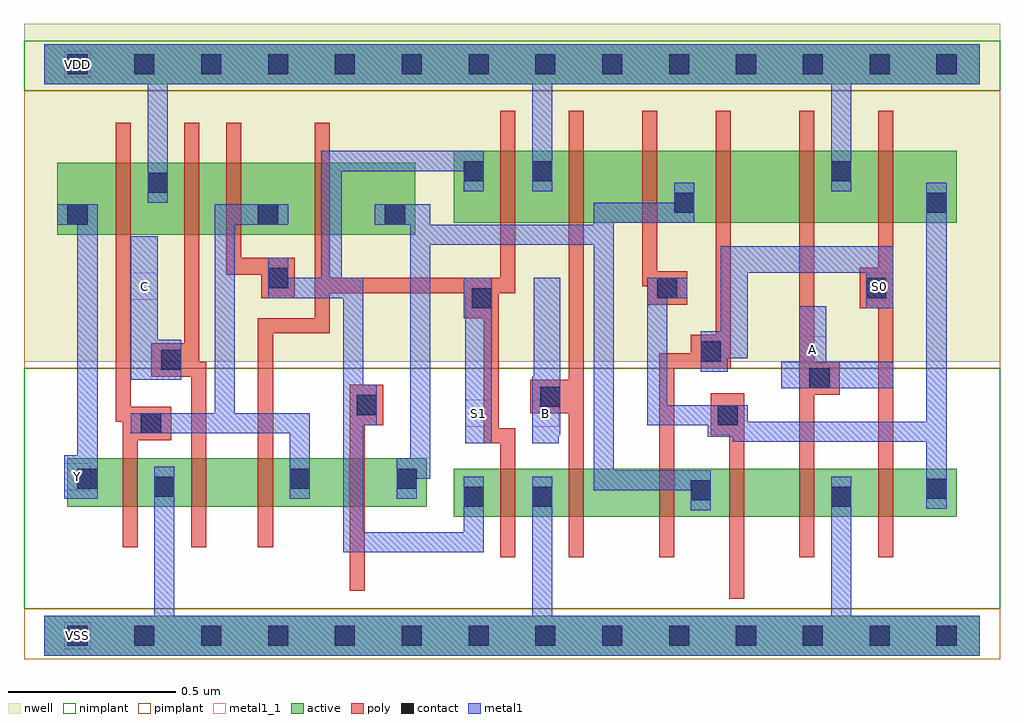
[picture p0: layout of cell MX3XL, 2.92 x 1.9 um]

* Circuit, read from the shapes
.subckt MX3XL A B C S0 S1 VDD VSS Y
M1 VSS n1 Y VSS nfet w=0.145u l=0.045u
M2 n2 C VSS VSS nfet w=0.145u l=0.045u
M3 n1 S1 n2 VSS nfet w=0.145u l=0.045u
M4 n3 n4 n1 VSS nfet w=0.145u l=0.045u
M5 VSS S1 n4 VSS nfet w=0.145u l=0.045u
M6 n5 B VSS VSS nfet w=0.145u l=0.045u
M7 n3 S0 n5 VSS nfet w=0.145u l=0.045u
M8 n6 n7 n3 VSS nfet w=0.145u l=0.045u
M9 VSS A n6 VSS nfet w=0.145u l=0.045u
M10 n7 S0 VSS VSS nfet w=0.145u l=0.045u
M11 VDD n1 Y VDD pfet w=0.215u l=0.045u
M12 n8 C VDD VDD pfet w=0.215u l=0.045u
M13 n1 n4 n8 VDD pfet w=0.215u l=0.045u
M14 n3 S1 n1 VDD pfet w=0.215u l=0.045u
M15 VDD S1 n4 VDD pfet w=0.215u l=0.045u
M16 n9 B VDD VDD pfet w=0.215u l=0.045u
M17 n3 n7 n9 VDD pfet w=0.215u l=0.045u
M18 n10 S0 n3 VDD pfet w=0.215u l=0.045u
M19 VDD A n10 VDD pfet w=0.215u l=0.045u
M20 n7 S0 VDD VDD pfet w=0.215u l=0.045u
.ends

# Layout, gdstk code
import gdstk
lib = gdstk.Library(unit=1e-6, precision=5e-10)
def R(c, l, rs):  # rectangles x0, y0, x1, y1
    for r in rs: c.add(gdstk.rectangle(r[:2], r[2:], *l))
def A(c, l, x, y, w, h, nx, ny, dx, dy):  # array of equal rectangles
    R(c, l, [(x+i*dx, y+j*dy, x+i*dx+w, y+j*dy+h) for i in range(nx) for j in range(ny)])
def P(c, l, *ps):  # polygons
    for p in ps: c.add(gdstk.Polygon(p, *l))
active = (1, 0)
nwell = (2, 0)
poly = (3, 0)
nimplant = (4, 0)
pimplant = (5, 0)
contact = (6, 0)
metal1 = (7, 0)
metal1_1 = (7, 1)

mx3xl = lib.new_cell('MX3XL')
R(mx3xl, active, [(0,-0.06,2.8,0.06), (1.225,0.355,2.73,0.5), (0.07,0.385,1.145,0.53), (0.04,1.2,1.11,1.415), (1.225,1.235,2.73,1.45), (0,1.65,2.8,1.77)])
R(mx3xl, nwell, [(-0.06,0.82,2.86,1.83)])
P(mx3xl, poly, [(0.215,1.535),(0.26,1.535),(0.26,0.685),(0.38,0.685),(0.38,0.585),(0.28,0.585),(0.28,0.265),(0.235,0.265),(0.235,0.64),(0.215,0.64)],
  [(0.42,1.535),(0.465,1.535),(0.465,0.82),(0.485,0.82),(0.485,0.265),(0.44,0.265),(0.44,0.775),(0.32,0.775),(0.32,0.875),(0.42,0.875)],
  [(0.545,1.535),(0.59,1.535),(0.59,1.13),(0.75,1.13),(0.75,1.01),(0.65,1.01),(0.65,1.08),(0.545,1.08)],
  [(0.81,1.535),(0.855,1.535),(0.855,1.07),(1.365,1.07),(1.365,1.57),(1.41,1.57),(1.41,1.025),(1.36,1.025),(1.36,0.62),(1.41,0.62),(1.41,0.235),(1.365,0.235),(1.365,0.575),(1.315,0.575),(1.315,0.95),(1.26,0.95),(1.26,1.025),(0.855,1.025),(0.855,0.905),(0.685,0.905),(0.685,0.265),(0.64,0.265),(0.64,0.95),(0.81,0.95)],
  [(1.57,1.57),(1.615,1.57),(1.615,0.235),(1.57,0.235),(1.57,0.665),(1.455,0.665),(1.455,0.765),(1.57,0.765)],
  [(1.79,1.57),(1.835,1.57),(1.835,1.09),(1.925,1.09),(1.925,0.99),(1.805,0.99),(1.805,1.045),(1.79,1.045)],
  [(2.01,1.57),(2.055,1.57),(2.055,0.8),(1.885,0.8),(1.885,0.235),(1.84,0.235),(1.84,0.845),(1.935,0.845),(1.935,0.9),(2.01,0.9)],
  [(2.26,1.57),(2.305,1.57),(2.305,0.82),(2.38,0.82),(2.38,0.72),(2.305,0.72),(2.305,0.235),(2.26,0.235)],
  [(2.495,1.57),(2.54,1.57),(2.54,0.235),(2.495,0.235),(2.495,0.98),(2.44,0.98),(2.44,1.1),(2.495,1.1)],
  [(0.915,0.75),(1.015,0.75),(1.015,0.63),(0.96,0.63),(0.96,0.135),(0.915,0.135)],
  [(1.995,0.725),(2.095,0.725),(2.095,0.11),(2.05,0.11),(2.05,0.6),(1.995,0.6)])
R(mx3xl, nimplant, [(-0.06,0.08,2.86,0.8), (-0.06,1.63,2.86,1.78)])
R(mx3xl, pimplant, [(-0.06,-0.07,2.86,0.08), (-0.06,0.8,2.86,1.63)])
A(mx3xl, contact, 0.07, -0.03, 0.06, 0.06, 14, 2, 0.2, 1.71)
R(mx3xl, contact, [(1.255,0.385,1.315,0.445), (1.46,0.385,1.52,0.445), (2.355,0.385,2.415,0.445), (1.935,0.405,1.995,0.465), (2.64,0.41,2.7,0.47), (0.33,0.415,0.39,0.475), (0.1,0.44,0.16,0.5), (0.735,0.44,0.795,0.5), (1.055,0.44,1.115,0.5), (0.29,0.605,0.35,0.665), (2.015,0.63,2.075,0.69), (0.935,0.66,0.995,0.72), (1.485,0.685,1.545,0.745), (2.29,0.74,2.35,0.8), (0.35,0.795,0.41,0.855), (1.965,0.82,2.025,0.88), (1.28,0.98,1.34,1.04), (1.835,1.01,1.895,1.07), (2.46,1.01,2.52,1.07), (0.67,1.04,0.73,1.1), (0.07,1.23,0.13,1.29), (0.64,1.23,0.7,1.29), (1.02,1.23,1.08,1.29), (1.885,1.265,1.945,1.325), (2.64,1.265,2.7,1.325), (0.31,1.325,0.37,1.385), (1.255,1.36,1.315,1.42), (1.46,1.36,1.52,1.42), (2.355,1.36,2.415,1.42)])
P(mx3xl, metal1, [(0,1.77),(2.8,1.77),(2.8,1.65),(2.415,1.65),(2.415,1.33),(2.355,1.33),(2.355,1.65),(1.52,1.65),(1.52,1.33),(1.46,1.33),(1.46,1.65),(0.37,1.65),(0.37,1.295),(0.31,1.295),(0.31,1.65),(0,1.65)],
  [(0.83,1.45),(1.315,1.45),(1.315,1.33),(1.255,1.33),(1.255,1.39),(0.89,1.39),(0.89,1.07),(0.955,1.07),(0.955,0.75),(0.995,0.75),(0.995,0.63),(0.955,0.63),(0.955,0.31),(1.255,0.31),(1.255,0.475),(1.315,0.475),(1.315,0.25),(0.895,0.25),(0.895,1.01),(0.67,1.01),(0.67,1.13),(0.73,1.13),(0.73,1.07),(0.83,1.07)],
  [(0.04,1.29),(0.16,1.29),(0.16,0.41),(0.06,0.41),(0.06,0.54),(0.1,0.54),(0.1,1.23),(0.04,1.23)],
  [(0.51,1.29),(0.73,1.29),(0.73,1.23),(0.57,1.23),(0.57,0.665),(0.795,0.665),(0.795,0.41),(0.735,0.41),(0.735,0.605),(0.26,0.605),(0.26,0.665),(0.51,0.665)],
  [(0.26,1.195),(0.34,1.195),(0.34,0.885),(0.41,0.885),(0.41,0.765),(0.26,0.765)],
  [(1.885,1.355),(1.945,1.355),(1.945,1.235),(1.705,1.235),(1.705,0.495),(1.995,0.495),(1.995,0.375),(1.935,0.375),(1.935,0.435),(1.645,0.435),(1.645,1.17),(1.155,1.17),(1.155,0.47),(1.115,0.47),(1.115,0.41),(1.055,0.41),(1.055,0.53),(1.095,0.53),(1.095,1.23),(0.99,1.23),(0.99,1.29),(1.155,1.29),(1.155,1.23),(1.645,1.23),(1.645,1.295),(1.885,1.295)],
  [(1.805,1.07),(1.925,1.07),(1.925,1.01),(1.865,1.01),(1.865,0.69),(2.105,0.69),(2.105,0.64),(2.64,0.64),(2.64,1.355),(2.7,1.355),(2.7,0.38),(2.64,0.38),(2.64,0.58),(2.06,0.58),(2.06,0.595),(1.985,0.595),(1.985,0.63),(1.805,0.63)],
  [(0.33,0.505),(0.39,0.505),(0.39,0.06),(1.46,0.06),(1.46,0.475),(1.52,0.475),(1.52,0.06),(2.355,0.06),(2.355,0.475),(2.415,0.475),(2.415,0.06),(2.8,0.06),(2.8,-0.06),(0,-0.06),(0,0.06),(0.33,0.06)],
  [(1.255,1.07),(1.34,1.07),(1.34,0.575),(1.26,0.575),(1.26,0.95),(1.255,0.95)],
  [(1.465,1.07),(1.545,1.07),(1.545,0.6),(1.54,0.6),(1.54,0.575),(1.46,0.575),(1.46,0.775),(1.465,0.775)],
  [(2.025,1.165),(2.54,1.165),(2.54,0.98),(2.46,0.98),(2.46,1.085),(2.105,1.085),(2.105,0.83),(2.045,0.83),(2.045,0.79),(1.965,0.79),(1.965,0.91),(2.025,0.91)],
  [(2.26,0.985),(2.34,0.985),(2.34,0.82),(2.54,0.82),(2.54,0.74),(2.205,0.74),(2.205,0.82),(2.26,0.82)])
R(mx3xl, metal1_1, [(0.06,-0.04,0.14,0.04), (0.06,0.435,0.14,0.515), (1.26,0.625,1.34,0.705), (1.46,0.625,1.54,0.705), (2.26,0.815,2.34,0.895), (0.26,1.005,0.34,1.085), (2.46,1.005,2.54,1.085), (0.06,1.67,0.14,1.75)])
mx3xl.add(gdstk.Label('Y', (0.1,0.475), layer=7, texttype=1))
mx3xl.add(gdstk.Label('S0', (2.5,1.045), layer=7, texttype=1))
mx3xl.add(gdstk.Label('A', (2.3,0.855), layer=7, texttype=1))
mx3xl.add(gdstk.Label('B', (1.5,0.665), layer=7, texttype=1))
mx3xl.add(gdstk.Label('S1', (1.3,0.665), layer=7, texttype=1))
mx3xl.add(gdstk.Label('C', (0.3,1.045), layer=7, texttype=1))
mx3xl.add(gdstk.Label('VDD', (0.1,1.71), layer=7, texttype=1))
mx3xl.add(gdstk.Label('VSS', (0.1,0), layer=7, texttype=1))
mx3xl.add(gdstk.Label('MX3XL', (0,0), layer=63, texttype=0))

lib.write_gds('MX3XL.gds')
